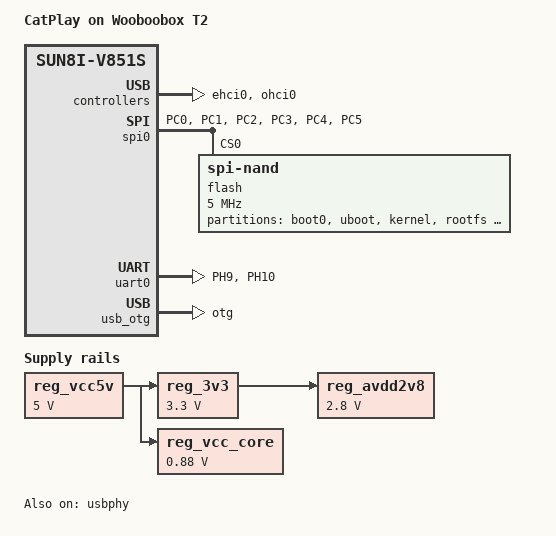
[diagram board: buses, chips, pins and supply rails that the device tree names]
// SPDX-License-Identifier: (GPL-2.0+ OR MIT)
// Copyright (C) 2022 Arm Ltd.

#include <dt-bindings/gpio/gpio.h>
#include <dt-bindings/interrupt-controller/irq.h>
#include <dt-bindings/leds/common.h>

/dts-v1/;

#include "sun8i-v851s.dtsi"

/ {
	model = "CatPlay on Wooboobox T2";
	compatible = "wooboobox,t2", "allwinner,sun8i-v851s";

	aliases {
		serial0 = &uart0;
		spi0 = &spi0;
	};

	chosen {
		stdout-path = "serial0:115200n8";
	};

	// leds {
	// 	compatible = "gpio-leds";

	// 	led-0 {
	// 		color = <LED_COLOR_ID_BLUE>;
	// 		function = LED_FUNCTION_STATUS;
	// 		gpios = <&pio 3 22 GPIO_ACTIVE_LOW>; /* PD22 */
	// 	};
	// };

	/* board wide 5V supply directly from the USB-C socket */
	reg_vcc5v: regulator-5v {
		compatible = "regulator-fixed";
		regulator-name = "vcc-5v";
		regulator-min-microvolt = <5000000>;
		regulator-max-microvolt = <5000000>;
		regulator-always-on;
	};

	/* SY8008 DC/DC regulator on the board */
	reg_3v3: regulator-3v3 {
		compatible = "regulator-fixed";
		regulator-name = "vcc-3v3";
		regulator-min-microvolt = <3300000>;
		regulator-max-microvolt = <3300000>;
		vin-supply = <&reg_vcc5v>;
	};

	/* SY8008 DC/DC regulator on the board, also supplying VDD-SYS */
	reg_vcc_core: regulator-core {
		compatible = "regulator-fixed";
		regulator-name = "vcc-core";
		regulator-min-microvolt = <880000>;
		regulator-max-microvolt = <880000>;
		vin-supply = <&reg_vcc5v>;
	};

	/* XC6206 LDO on the board */
	reg_avdd2v8: regulator-avdd {
		compatible = "regulator-fixed";
		regulator-name = "avdd2v8";
		regulator-min-microvolt = <2800000>;
		regulator-max-microvolt = <2800000>;
		vin-supply = <&reg_3v3>;
	};
};

&cpu0 {
	cpu-supply = <&reg_vcc_core>;
};

&dcxo {
	clock-frequency = <24000000>;
};

&ehci0 {
	status = "okay";
};

&ohci0 {
	status = "okay";
};

// &mmc0 {
// 	pinctrl-names = "default";
// 	pinctrl-0 = <&mmc0_pins>;
// 	vmmc-supply = <&reg_3v3>;
// 	cd-gpios = <&pio 4 12 GPIO_ACTIVE_LOW>;
// 	disable-wp;
// 	bus-width = <4>;
// 	status = "okay";
// };

/* V851S SPI0 is routed to the onboard GigaDevice SPI NAND on PC0-PC5. */
&pio {
	vcc-pb-supply = <&reg_3v3>;
	vcc-pd-supply = <&reg_3v3>;
	vcc-pe-supply = <&reg_avdd2v8>;
	vcc-pf-supply = <&reg_3v3>;
	vcc-pg-supply = <&reg_3v3>;

	uart0_ph_pins: uart0-ph-pins {
		pins = "PH9", "PH10";
		function = "uart0";
	};

	spi0_pc_pins: spi0-pc-pins {
		pins = "PC0", "PC1", "PC2", "PC3", "PC4", "PC5";
		function = "spi0";
	};
};

&spi0 {
	pinctrl-names = "default";
	pinctrl-0 = <&spi0_pc_pins>;
	allwinner,sample-mode = <1>;
	allwinner,sample-delay = <18>;
	status = "okay";
	#address-cells = <1>;
	#size-cells = <0>;

	flash@0 {
		compatible = "spi-nand";
		reg = <0>;
		spi-max-frequency = <5000000>;

		partitions {
			compatible = "fixed-partitions";
			#address-cells = <1>;
			#size-cells = <1>;

			/* Keep in sync with Linux DTB and Bitbake OTA builder */
			partition@0 {
				label = "boot0";
				reg = <0x00000000 0x00100000>;
			};

			partition@100000 {
				label = "uboot";
				reg = <0x00100000 0x00100000>;
			};

			partition@200000 {
				label = "kernel";
				reg = <0x00200000 0x00800000>;
			};

			partition@a00000 {
				label = "rootfs";
				reg = <0x00a00000 0x01000000>;
			};

			partition@1a00000 {
				label = "persist";
				reg = <0x01a00000 0x01000000>;
			};
		};
	};
};

&uart0 {
	pinctrl-names = "default";
	pinctrl-0 = <&uart0_ph_pins>;
	status = "okay";
};

/* The USB-C socket has its CC pins pulled to GND, so is hardwired as a UFP. */
&usb_otg {
	dr_mode = "otg";
	status = "okay";
};

&usbphy {
	usb1_vbus-supply = <&reg_vcc5v>;
	status = "okay";
};
